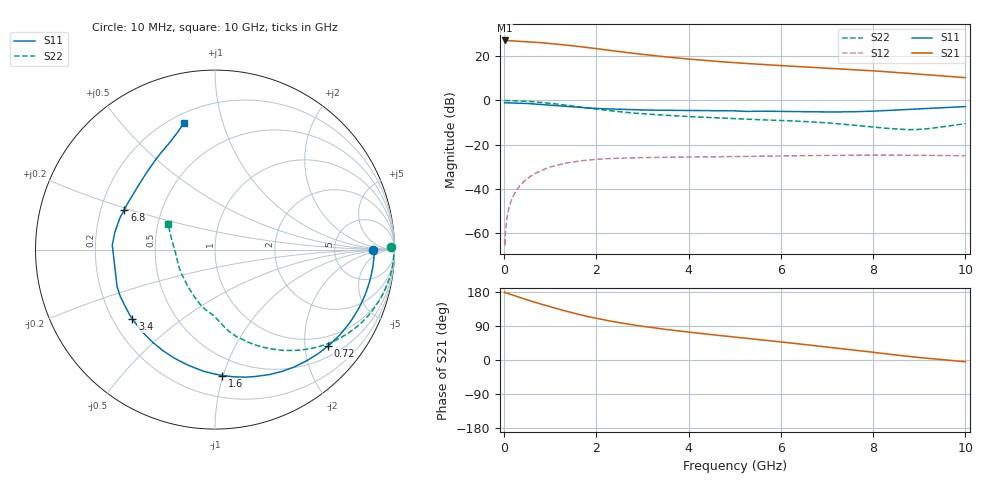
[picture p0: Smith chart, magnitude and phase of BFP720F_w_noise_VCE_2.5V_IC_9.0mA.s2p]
! Infineon Technologies  Discrete & RF Semiconductors
! BFP720F
! VCE =  2.5 V,  IC =  9.0 mA
! Common Emitter S-Parameters:  Jan 2016
# GHz  S  MA  R  50
!  f  S11  S21  S12  S22
! GHz  MAG  ANG  MAG  ANG  MAG  ANG  MAG  ANG
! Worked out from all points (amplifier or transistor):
!   233 points, 10 MHz to 10 GHz, reference 50 ohm
!   highest |S21| = 27.2 dB at 10 MHz (marker M1)
!   |S21| within 3 dB of that: start of sweep to 1.732 GHz
!   unconditionally stable (mu >= 1): start of sweep to 13.46 MHz; 6.933 GHz to end of sweep
!   at 200 MHz: K = 0.05, MSG = 35.1 dB, |S12| = -43.2 dB
!   at 1.74 GHz: K = 0.28, MSG = 25.7 dB, |S12| = -27.2 dB
!   at 10 GHz: K = 1.28, MAG = 14.5 dB, |S12| = -25.0 dB
!   lowest NFmin = 0.52 dB at 450 MHz
!   S11 on the Smith chart (normalised r, x): 10 MHz: 16, +0; 720 MHz: 0.74, -2.51; 1.6 GHz: 0.36, -0.99; 3.4 GHz: 0.28, -0.34; 6.8 GHz: 0.30, +0.19; 10 GHz: 0.25, +0.75
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0.01  0.8827 0.0  22.89 179.3  0.0007 -3.3  0.9787 0.8
0.015  0.8852 -0.5  22.76 178.3  0.0005 41.4  0.9881 -0.2
0.02  0.8878 -1.0  22.64 177.3  0.0007 86.1  0.9978 -1.2
0.05  0.8864 -2.9  22.81 177.1  0.0018 88.6  0.9959 -1.7
0.26  0.8755 -14.9  22.14 167.9  0.0089 81.5  0.985 -9.4
0.45  0.8591 -25.5  21.47 160.5  0.0153 75.2  0.9631 -16.1
0.72  0.8271 -40.6  20.6 150.5  0.0236 66.6  0.9195 -25.2
0.9  0.8022 -50.7  19.98 143.9  0.0285 61.1  0.8833 -31.1
1.12  0.7709 -62.3  18.99 136.3  0.0337 54.8  0.8335 -37.9
1.3  0.7442 -71.7  18.2 130.3  0.0373 50.1  0.7911 -43.2
1.6  0.7029 -86.6  16.86 120.8  0.0421 43.0  0.7215 -51.1
1.68  0.6926 -90.3  16.46 118.5  0.0431 41.1  0.7027 -53.1
2.02  0.6583 -104.2  14.85 109.3  0.0465 34.6  0.6334 -60.7
2.4  0.6334 -117.3  13.19 100.5  0.0489 28.5  0.5705 -67.8
2.9  0.6121 -130.5  11.39 90.6  0.0505 22.9  0.5097 -74.7
3.4  0.6006 -140.0  9.986 82.5  0.0515 18.8  0.4692 -79.5
4  0.5912 -148.7  8.672 73.5  0.0523 15.0  0.4313 -83.4
5.1  0.5733 -164.0  7.059 59.1  0.0538 10.5  0.3826 -89.0
6.8  0.5521 156.2  5.534 36.9  0.0565 4.6  0.3206 -103.7
8.4  0.5996 123.6  4.399 14.6  0.0577 -1.5  0.2298 -144.9
9  0.6455 113.3  3.94 6.5  0.057 -3.2  0.2212 -175.9
10  0.7271 103.8  3.28 -4.6  0.0561 -5.0  0.2991 151.2
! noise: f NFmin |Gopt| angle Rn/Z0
0.45  0.52  0.33  4  0.18
0.9  0.55  0.31  9  0.15
1.8  0.6  0.29  15  0.14
2.4  0.63  0.26  25  0.14
5.5  0.77  0.25  48  0.08
10  0.99  0.27  -94  0.17
